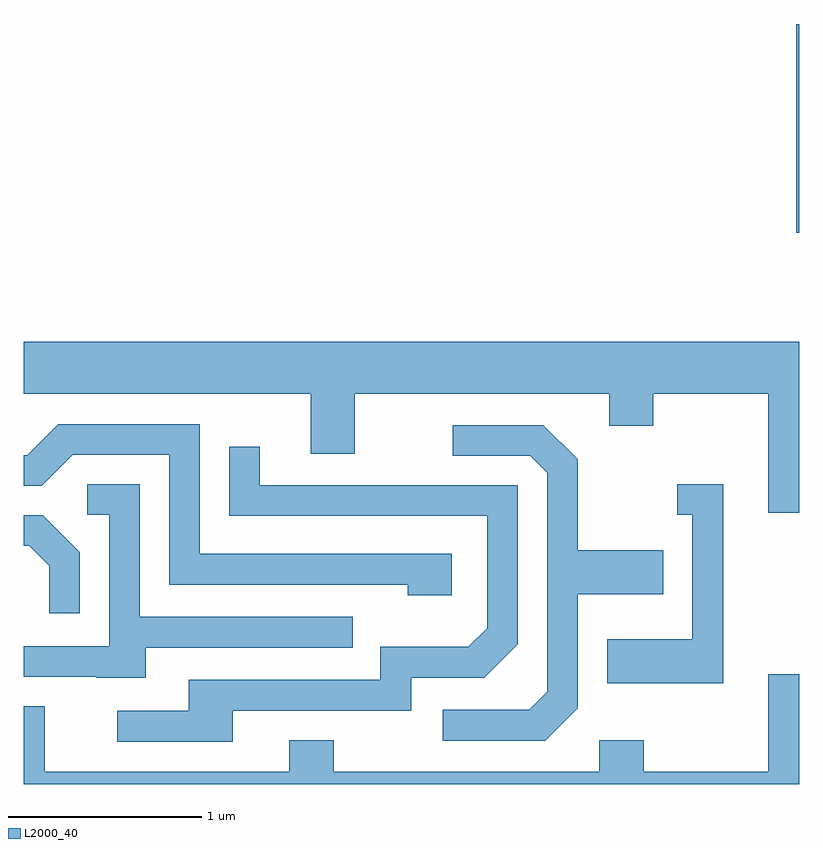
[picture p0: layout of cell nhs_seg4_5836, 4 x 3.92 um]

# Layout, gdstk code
import gdstk
lib = gdstk.Library(unit=1e-6, precision=1e-09)
def R(c, l, rs):  # rectangles x0, y0, x1, y1
    for r in rs: c.add(gdstk.rectangle(r[:2], r[2:], *l))
def P(c, l, *ps):  # polygons
    for p in ps: c.add(gdstk.Polygon(p, *l))
L2000_40 = (2000, 40)

nhs_seg4_5836 = lib.new_cell('nhs_seg4_5836')
R(nhs_seg4_5836, L2000_40, [(359.596,1368.826,359.611,1369.904)])
P(nhs_seg4_5836, L2000_40, [(359.611,1368.264),(355.611,1368.264),(355.611,1367.996),(357.091,1367.996),(357.091,1367.686),(357.319,1367.686),(357.319,1367.996),(358.631,1367.996),(358.631,1367.831),(358.859,1367.831),(358.859,1367.996),(359.451,1367.996),(359.451,1367.381),(359.611,1367.381)],
  [(357.819,1367.169),(356.519,1367.169),(356.519,1367.839),(355.789,1367.839),(355.629,1367.679),(355.611,1367.679),(355.611,1367.521),(355.702,1367.521),(355.862,1367.681),(356.361,1367.681),(356.361,1367.011),(357.591,1367.011),(357.591,1366.956),(357.819,1366.956)],
  [(358.469,1366.374),(358.469,1366.961),(358.909,1366.961),(358.909,1367.189),(358.469,1367.189),(358.469,1367.657),(358.292,1367.834),(357.823,1367.834),(357.823,1367.676),(358.224,1367.676),(358.311,1367.589),(358.311,1366.457),(358.219,1366.364),(357.773,1366.364),(357.773,1366.206),(358.302,1366.206)],
  [(356.689,1366.361),(357.609,1366.361),(357.609,1366.531),(357.987,1366.531),(358.159,1366.704),(358.159,1367.524),(356.829,1367.524),(356.829,1367.723),(356.671,1367.723),(356.671,1367.366),(358.001,1367.366),(358.001,1366.787),(357.904,1366.689),(357.451,1366.689),(357.451,1366.519),(356.461,1366.519),(356.461,1366.359),(356.093,1366.359),(356.093,1366.201),(356.689,1366.201)],
  [(356.239,1366.686),(357.308,1366.686),(357.308,1366.844),(356.209,1366.844),(356.209,1367.529),(355.938,1367.529),(355.938,1367.371),(356.051,1367.371),(356.051,1366.694),(355.611,1366.694),(355.611,1366.536),(355.985,1366.536),(355.985,1366.531),(356.239,1366.531)],
  [(359.219,1367.529),(358.983,1367.529),(358.983,1367.371),(359.061,1367.371),(359.061,1366.729),(358.621,1366.729),(358.621,1366.501),(359.219,1366.501)],
  [(355.899,1367.177),(355.707,1367.369),(355.611,1367.369),(355.611,1367.211),(355.639,1367.211),(355.741,1367.109),(355.741,1366.863),(355.899,1366.863)],
  [(359.611,1366.549),(359.451,1366.549),(359.451,1366.044),(358.809,1366.044),(358.809,1366.209),(358.581,1366.209),(358.581,1366.044),(357.209,1366.044),(357.209,1366.209),(356.981,1366.209),(356.981,1366.044),(355.719,1366.044),(355.719,1366.384),(355.611,1366.384),(355.611,1365.982),(359.611,1365.982)])

lib.write_gds('nhs_seg4_5836.gds')
